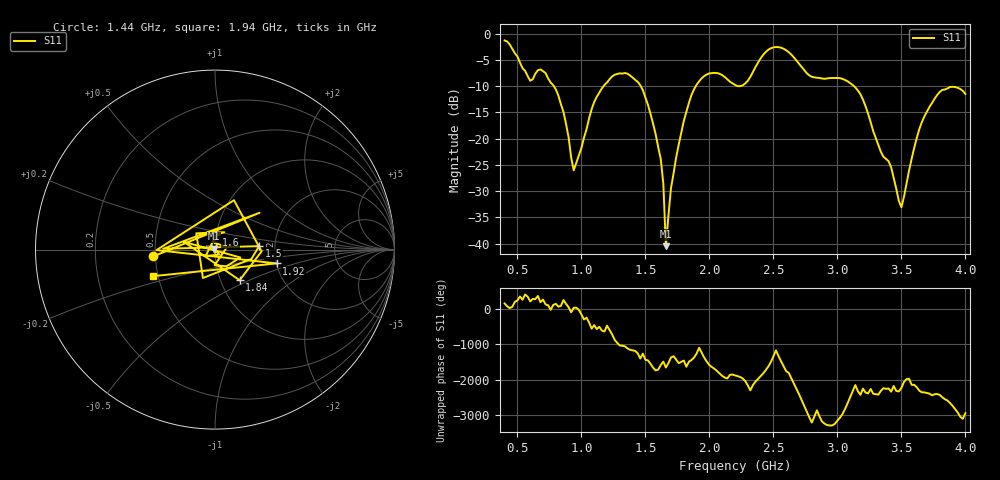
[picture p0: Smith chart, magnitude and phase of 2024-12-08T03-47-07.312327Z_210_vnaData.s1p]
!Created with skrf (http://scikit-rf.org).
# Hz S RI R 50.0
!freq ReS11 ImS11
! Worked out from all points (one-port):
!   181 points, 400 MHz to 4 GHz, reference 50 ohm
!   lowest |S11| = -40.5 dB at 1.66 GHz (marker M1), VSWR 1.02, Z = 49.2 + j0.557 ohm
!   |S11| at or under -10 dB: 784.2 MHz to 1.174 GHz (389.3 MHz wide, 39.8 % of centre); 1.463 GHz to 1.894 GHz (430.7 MHz wide, 25.7 % of centre); 3.129 GHz to end of sweep (the widest 3 of 4)
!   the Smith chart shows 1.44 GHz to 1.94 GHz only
!   S11 on the Smith chart (normalised r, x): 1.44 GHz: 0.49, -0.04; 1.5 GHz: 1.65, +0.07; 1.6 GHz: 1.00, +0.17; 1.84 GHz: 1.23, -0.44; 1.92 GHz: 2.00, -0.35; 1.94 GHz: 0.47, -0.16
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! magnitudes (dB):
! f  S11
! 400 MHz  -1.3
! 600 MHz  -9.0
! 720 MHz  -7.5
! 860 MHz  -15.0
! 940 MHz  -26.0
! 1.1 GHz  -13.0
! 1.3 GHz  -7.6
! 1.44 GHz  -9.2
! 1.5 GHz  -12.2
! 1.6 GHz  -21.6
! 1.64 GHz  -28.6
! 1.66 GHz  -40.5
! 1.7 GHz  -29.4
! 1.76 GHz  -21.2
! 1.84 GHz  -13.2
! 1.92 GHz  -9.1
! 1.94 GHz  -8.5
! 2.2 GHz  -9.8
! 2.48 GHz  -2.8
! 2.66 GHz  -4.5
! 2.8 GHz  -8.2
! 3.1 GHz  -9.4
! 3.42 GHz  -25.5
! 3.5 GHz  -33.1
! 3.56 GHz  -26.1
! 3.66 GHz  -16.8
! 3.78 GHz  -11.7
! 4 GHz  -11.5
